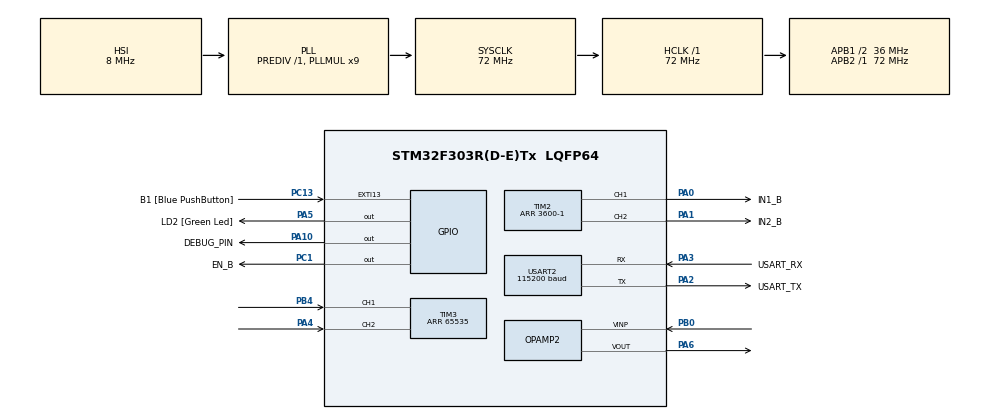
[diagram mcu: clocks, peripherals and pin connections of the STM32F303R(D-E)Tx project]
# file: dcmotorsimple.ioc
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ADC2.Channel-1\#ChannelRegularConversion=ADC_CHANNEL_3
ADC2.ClockPrescaler=ADC_CLOCK_SYNC_PCLK_DIV1
ADC2.ExternalTrigConv=ADC_EXTERNALTRIGCONV_T2_TRGO
ADC2.ExternalTrigConvEdge=ADC_EXTERNALTRIGCONVEDGE_RISINGFALLING
ADC2.NbrOfConversionFlag=1
ADC2.Offset-1\#ChannelRegularConversion=0
ADC2.OffsetNumber-1\#ChannelRegularConversion=ADC_OFFSET_NONE
ADC2.Rank-1\#ChannelRegularConversion=1
ADC2.SamplingTime-1\#ChannelRegularConversion=ADC_SAMPLETIME_1CYCLE_5
Mcu.Family=STM32F3
Mcu.Name=STM32F303R(D-E)Tx
Mcu.Package=LQFP64
NVIC.ADC1_2_IRQn=true\:0\:0\:false\:false\:true\:true\:true
NVIC.PriorityGroup=NVIC_PRIORITYGROUP_0
OPAMP2.PgaGain=OPAMP_PGA_GAIN_16
PA0.GPIO_Label=IN1_B
PA0.Signal=S_TIM2_CH1_ETR
PA1.GPIO_Label=IN2_B
PA1.Signal=S_TIM2_CH2
PA10.GPIO_Label=DEBUG_PIN
PA10.Signal=GPIO_Output
PA13.GPIO_Label=TMS
PA13.Mode=Serial_Wire
PA13.Signal=SYS_JTMS-SWDIO
PA14.GPIO_Label=TCK
PA14.Mode=Serial_Wire
PA14.Signal=SYS_JTCK-SWCLK
PA2.GPIO_Label=USART_TX
PA2.GPIO_Mode=GPIO_MODE_AF_PP
PA2.GPIO_PuPd=GPIO_NOPULL
PA2.GPIO_Speed=GPIO_SPEED_FREQ_LOW
PA2.Mode=Asynchronous
PA2.Signal=USART2_TX
PA3.GPIO_Label=USART_RX
PA3.GPIO_Mode=GPIO_MODE_AF_PP
PA3.GPIO_PuPd=GPIO_NOPULL
PA3.GPIO_Speed=GPIO_SPEED_FREQ_LOW
PA3.Mode=Asynchronous
PA3.Signal=USART2_RX
PA4.Signal=S_TIM3_CH2
PA5.GPIO_Label=LD2 [Green Led]
PA5.GPIO_PuPd=GPIO_NOPULL
PA5.GPIO_Speed=GPIO_SPEED_FREQ_LOW
PA5.Signal=GPIO_Output
PA6.Mode=PGA Not Connected
PA6.Signal=OPAMP2_VOUT
PB0.Mode=PGA Not Connected
PB0.Signal=OPAMP2_VINP
PB3.GPIO_Label=SWO
PB3.Signal=SYS_JTDO-TRACESWO
PB4.Signal=S_TIM3_CH1
PC1.GPIO_Label=EN_B
PC1.Signal=GPIO_Output
PC13.GPIO_Label=B1 [Blue PushButton]
PC13.GPIO_ModeDefaultEXTI=GPIO_MODE_IT_FALLING
PC13.Signal=GPXTI13
PC14-OSC32_IN.Mode=LSE-External-Oscillator
PC14-OSC32_IN.Signal=RCC_OSC32_IN
PC15-OSC32_OUT.Mode=LSE-External-Oscillator
PC15-OSC32_OUT.Signal=RCC_OSC32_OUT
PF0-OSC_IN.Signal=RCC_OSC_IN
PF1-OSC_OUT.Signal=RCC_OSC_OUT
ProjectManager.HeapSize=0x200
ProjectManager.StackSize=0x400
ProjectManager.TargetToolchain=STM32CubeIDE
RCC.AHBFreq_Value=72000000
RCC.APB1CLKDivider=RCC_HCLK_DIV2
RCC.APB1Freq_Value=36000000
RCC.APB1TimFreq_Value=72000000
RCC.APB2Freq_Value=72000000
RCC.APB2TimFreq_Value=72000000
RCC.CortexFreq_Value=72000000
RCC.HCLKFreq_Value=72000000
RCC.HSE_VALUE=8000000
RCC.HSI_VALUE=8000000
RCC.PLLM=8
RCC.PLLMUL=RCC_PLL_MUL9
RCC.PLLN=336
RCC.PLLP=RCC_PLLP_DIV4
RCC.PLLQ=7
RCC.RCC_PLLsource_Clock_Source_FROM_HSE=RCC_HSE_PREDIV_DIV2
RCC.SYSCLKFreq_VALUE=72000000
RCC.SYSCLKSourceVirtual=RCC_SYSCLKSOURCE_PLLCLK
RCC.USBFreq_Value=72000000
SH.S_TIM2_CH1_ETR.0=TIM2_CH1,PWM Generation1 CH1
SH.S_TIM2_CH2.0=TIM2_CH2,PWM Generation2 CH2
SH.S_TIM3_CH1.0=TIM3_CH1,Encoder_Interface
SH.S_TIM3_CH2.0=TIM3_CH2,Encoder_Interface
TIM2.Channel-Output\ Compare3\ No\ Output=TIM_CHANNEL_3
TIM2.Channel-PWM\ Generation1\ CH1=TIM_CHANNEL_1
TIM2.Channel-PWM\ Generation2\ CH2=TIM_CHANNEL_2
TIM2.CounterMode=TIM_COUNTERMODE_UP
TIM2.OC3Preload=ENABLE
TIM2.OCMode_3=TIM_OCMODE_TOGGLE
TIM2.OCMode_PWM-PWM\ Generation1\ CH1=TIM_OCMODE_PWM1
TIM2.OCPolarity_2=TIM_OCPOLARITY_LOW
TIM2.Period=3600-1
TIM2.TIM_MasterOutputTrigger=TIM_TRGO_OC3REF
TIM3.EncoderMode=TIM_ENCODERMODE_TI12
TIM3.Period=65535
USART2.BaudRate=115200
USART2.VirtualMode-Asynchronous=VM_ASYNC
VP_ADC2_OPAMP_OUT2.Mode=IN3-OPAMP2-Single-Ended
VP_TIM2_VS_no_output3.Mode=Output Compare3 No Output
board=NUCLEO-F303RE

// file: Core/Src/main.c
/* USER CODE BEGIN Header */
/**
  ******************************************************************************
  * @file           : main.c
  * @brief          : Main program body
  ******************************************************************************
  * @attention
  *
  * <h2><center>&copy; Copyright (c) 2020 STMicroelectronics.
  * All rights reserved.</center></h2>
  *
  * This software component is licensed by ST under BSD 3-Clause license,
  * the "License"; You may not use this file except in compliance with the
  * License. You may obtain a copy of the License at:
  *                        opensource.org/licenses/BSD-3-Clause
  *
  ******************************************************************************
  */
/* USER CODE END Header */

#include "main.h"
#include "adc.h"
#include "opamp.h"
#include "tim.h"
#include "usart.h"
#include "gpio.h"

/* USER CODE BEGIN Includes */

#include <stdbool.h>
#include "../../Com/com.h"
#include "../../pid/pid.h"

/* USER CODE END Includes */

void SystemClock_Config(void);

/* USER CODE BEGIN 0 */

//static volatile uint16_t val = 3599;
//static uint16_t buffer[1000];
//__IO uint16_t uhADCxConvertedValue = 0;
//void test_Test1(void){
//	TIM_HandleTypeDef    TimHandle;
//	TIM_OC_InitTypeDef sConfig;
//	static uint16_t diff;
//	static uint16_t old = 0;
//	static uint16_t new;
//	uint16_t diff_array[100];
//	uint32_t i;
//
//	/* Run the ADC calibration in single-ended mode */
//	  if (HAL_ADCEx_Calibration_Start(&hadc2, ADC_SINGLE_ENDED) != HAL_OK)
//	  {
//	    /* Calibration Error */
//	    Error_Handler();
//	  }
//	  /* Infinite loop */
//	    while (1)
//	    {
//
//	      /*##-3- Start the conversion process #######################################*/
//	      if (HAL_ADC_Start(&hadc2) != HAL_OK)
//	      {
//	        /* Start Conversation Error */
//	        Error_Handler();
//	      }
//
//	      /*##-4- Wait for the end of conversion #####################################*/
//	      /*  For simplicity reasons, this example is just waiting till the end of the
//	      conversion, but application may perform other tasks while conversion
//	      operation is ongoing. */
//	      if (HAL_ADC_PollForConversion(&hadc2, 10) != HAL_OK)
//	      {
//	        /* End Of Conversion flag not set on time */
//	        Error_Handler();
//	      }
//	      else
//	      {
//	        /* ADC conversion completed */
//	        /*##-5- Get the converted value of regular channel  ######################*/
//	        uhADCxConvertedValue = HAL_ADC_GetValue(&hadc2);
//	      }
//	    }
//
//
//	  com_Test_SendBuffer( (uint8_t *)buffer, 2000);
//
//	  HAL_TIM_PWM_Start(&htim16, TIM_CHANNEL_1);
//	  LL_GPIO_SetOutputPin(EN_A_GPIO_Port, EN_A_Pin);
//
//	  __HAL_TIM_SET_COMPARE(&htim16, TIM_CHANNEL_1, val);
//	  HAL_TIM_Encoder_Start(&htim1,TIM_CHANNEL_ALL);
//	  while (1)
//	  {
//	//	  __HAL_TIM_SET_COMPARE(&htim16, TIM_CHANNEL_1, 900-1);
//	//	  HAL_Delay(1000);
//	//	  __HAL_TIM_SET_COMPARE(&htim16, TIM_CHANNEL_1, 1800-1);
//	//	  HAL_Delay(1000);
//	//	  __HAL_TIM_SET_COMPARE(&htim16, TIM_CHANNEL_1, 2700-1);
//	//	  HAL_Delay(1000);
//	//	  __HAL_TIM_SET_COMPARE(&htim16, TIM_CHANNEL_1, val);
//	//	   HAL_Delay(1000);
//
//		  old = TIM1->CNT;
//		  for(i=0;i<100;i++){
//			  HAL_Delay(10);
//			  new = TIM1->CNT;
//			  diff_array[i] = new - old;
//			  old = new;
//		  }
//
//		  LL_GPIO_ResetOutputPin(EN_A_GPIO_Port, EN_A_Pin);
//		  __HAL_TIM_SET_COMPARE(&htim16, TIM_CHANNEL_1, 0);
//		  while(1);
//}

//void test_ContinuousSingleDirection(void){
//	LL_GPIO_SetOutputPin(IN1_B_GPIO_Port, IN1_B_Pin);
//	LL_GPIO_ResetOutputPin(IN2_B_GPIO_Port, IN2_B_Pin);
//	LL_GPIO_SetOutputPin(EN_B_GPIO_Port, EN_B_Pin);
//	while(1);
//}
//
//__IO uint16_t adcValue = 0;
//__IO float adcValue_mV = 0;
//__IO float adcValue_mA = 0;
//void test_ContinuousSingleDirectionADC(void){
//	LL_GPIO_SetOutputPin(IN1_B_GPIO_Port, IN1_B_Pin);
//	LL_GPIO_ResetOutputPin(IN2_B_GPIO_Port, IN2_B_Pin);
//	LL_GPIO_SetOutputPin(EN_B_GPIO_Port, EN_B_Pin);
//	HAL_ADCEx_Calibration_Start(&hadc2, ADC_SINGLE_ENDED);
//	while(1){
//		HAL_ADC_Start(&hadc2);
//		HAL_ADC_PollForConversion(&hadc2, 10);
//		adcValue = HAL_ADC_GetValue(&hadc2);
//		adcValue_mV = adcValue * 0.805664F;
//		adcValue_mA = (adcValue_mV-40) / (31*0.05F);
//	}
//}

//#define N (10000)
//void test_mANoise(void){
//	uint16_t adcValue = 0;
//	float adcValue_mV = 0;
//	float adcValue_mA[N];
//	unsigned int index = N;
//
//	LL_GPIO_SetOutputPin(IN1_B_GPIO_Port, IN1_B_Pin);
//	LL_GPIO_ResetOutputPin(IN2_B_GPIO_Port, IN2_B_Pin);
//	LL_GPIO_SetOutputPin(EN_B_GPIO_Port, EN_B_Pin);
//	HAL_Delay(1000);
//	HAL_ADCEx_Calibration_Start(&hadc2, ADC_SINGLE_ENDED);
//	while(index--){
//		HAL_Delay(1);
//		HAL_ADC_Start(&hadc2);
//		HAL_ADC_PollForConversion(&hadc2, 10);
//		adcValue = HAL_ADC_GetValue(&hadc2);
//		adcValue_mV = adcValue * 0.805664F;
//		adcValue_mA[index] = (adcValue_mV-40) / (31*0.05F);
//	}
//	com_Test_SendBuffer( (uint8_t *)&adcValue_mA[0] , 4*N);
//	while(1);
//}

//void test_PwmSimple(void){
//	LL_GPIO_ResetOutputPin(IN2_B_GPIO_Port, IN2_B_Pin);
//	LL_GPIO_SetOutputPin(EN_B_GPIO_Port, EN_B_Pin);
//	__HAL_TIM_SET_COMPARE(&htim2, TIM_CHANNEL_1, 0);
//	HAL_TIM_PWM_Start(&htim2, TIM_CHANNEL_1);
//	LL_GPIO_SetOutputPin(EN_B_GPIO_Port, EN_B_Pin);
//	while(1){
//		HAL_Delay(5000);
//		LL_GPIO_SetOutputPin(DEBUG_PIN_GPIO_Port, DEBUG_PIN_Pin);
//		__HAL_TIM_SET_COMPARE(&htim2, TIM_CHANNEL_1, 500);
//		HAL_Delay(500);
//		LL_GPIO_ResetOutputPin(DEBUG_PIN_GPIO_Port, DEBUG_PIN_Pin);
//		__HAL_TIM_SET_COMPARE(&htim2, TIM_CHANNEL_1, 0);
//		LL_GPIO_ResetOutputPin(IN1_B_PWM_GPIO_Port, IN1_B_PWM_Pin);
//	}
//	HAL_TIM_PWM_Stop(&htim2, TIM_CHANNEL_1);
//}

//__IO uint16_t adcValue = 0;
//#define N 1000
//float mA_Array[N];
//void test_PwmADCSimple(void){
//	uint16_t counter = 0;
//	HAL_ADCEx_Calibration_Start(&hadc2, ADC_SINGLE_ENDED);
//
//	LL_GPIO_ResetOutputPin(IN2_B_GPIO_Port, IN2_B_Pin);
//	LL_GPIO_SetOutputPin(EN_B_GPIO_Port, EN_B_Pin);
//	__HAL_TIM_SET_COMPARE(&htim2, TIM_CHANNEL_1, 2000);
//	HAL_TIM_PWM_Start(&htim2, TIM_CHANNEL_1);
//
//	while(counter < N){
//		HAL_ADC_Start(&hadc2);
//		HAL_ADC_PollForConversion(&hadc2, 10);
//		adcValue = HAL_ADC_GetValue(&hadc2);
//		adcValue = adcValue >> 2;
//		mA_Array[counter]=((adcValue * 3.22265625F)-43)/(31*0.05);
//		//mA_Array[counter]=((adcValue * 0.805664063F)-43)/(31*0.05);
//		counter++;
//	}
//	com_Test_SendBuffer( (uint8_t *)&mA_Array[0] , 4*N);
//	while(1);
//}

//static volatile float pid_setpoint = 0;
////__IO float pid_Kp = 6.9F;
////__IO float pid_KixTs = 0.7256F;
////__IO float pid_lastError = 0;
////__IO float pid_lastIntegral = 0;
////__IO float pid_volts2pwm = 7199/3.3F;
//void test_pid(){
//	HAL_ADCEx_Calibration_Start(&hadc2, ADC_SINGLE_ENDED);
//	HAL_ADC_Start_IT(&hadc2);
//	HAL_TIM_PWM_Start(&htim2, TIM_CHANNEL_1);
//	__HAL_TIM_SET_COMPARE(&htim2, TIM_CHANNEL_1, 4500);
//}
//void pid(uint16_t adc){
//}

//static volatile uint16_t duty = 300;
//void test_PWMBipolar(){
//	LL_GPIO_SetOutputPin(EN_B_GPIO_Port, EN_B_Pin);
//	LL_GPIO_ResetOutputPin(IN1_B_GPIO_Port, IN1_B_Pin);
//	LL_GPIO_ResetOutputPin(IN2_B_GPIO_Port, IN2_B_Pin);
//	HAL_Delay(500);
//	__HAL_TIM_SET_COMPARE(&htim2, TIM_CHANNEL_1, duty);
//	__HAL_TIM_SET_COMPARE(&htim2, TIM_CHANNEL_2, duty);
//	LL_GPIO_SetOutputPin(DEBUG_PIN_GPIO_Port,DEBUG_PIN_Pin);
//	HAL_TIM_PWM_Start(&htim2, TIM_CHANNEL_1);
//	HAL_TIM_PWM_Start(&htim2, TIM_CHANNEL_2);
//	HAL_Delay(1);
//	LL_GPIO_ResetOutputPin(DEBUG_PIN_GPIO_Port,DEBUG_PIN_Pin);
//	LL_GPIO_ResetOutputPin(EN_B_GPIO_Port, EN_B_Pin);
//	while(1){
//		__HAL_TIM_SET_COMPARE(&htim2, TIM_CHANNEL_1, duty);
//		__HAL_TIM_SET_COMPARE(&htim2, TIM_CHANNEL_2, duty);
//	}
//
//}

//void test_pulse(){
//	LL_GPIO_SetOutputPin(EN_B_GPIO_Port, EN_B_Pin);
//	LL_GPIO_ResetOutputPin(IN1_B_GPIO_Port, IN1_B_Pin);
//	LL_GPIO_ResetOutputPin(IN2_B_GPIO_Port, IN2_B_Pin);
//	while(1){
//		HAL_Delay(5000);
//		LL_GPIO_SetOutputPin(DEBUG_PIN_GPIO_Port,DEBUG_PIN_Pin);
//		LL_GPIO_SetOutputPin(IN1_B_GPIO_Port, IN1_B_Pin);
//		HAL_Delay(5);
//		LL_GPIO_ResetOutputPin(DEBUG_PIN_GPIO_Port,DEBUG_PIN_Pin);
//		LL_GPIO_ResetOutputPin(IN1_B_GPIO_Port, IN1_B_Pin);
//	}
//}

//void test_pulsePWM(){
//	LL_GPIO_SetOutputPin(EN_B_GPIO_Port, EN_B_Pin);
//	LL_GPIO_ResetOutputPin(IN1_B_GPIO_Port, IN1_B_Pin);
//	LL_GPIO_ResetOutputPin(IN2_B_GPIO_Port, IN2_B_Pin);
//	__HAL_TIM_SET_COMPARE(&htim2, TIM_CHANNEL_1, 0);
//	__HAL_TIM_SET_COMPARE(&htim2, TIM_CHANNEL_2, 0);
//	HAL_TIM_PWM_Start(&htim2, TIM_CHANNEL_1);
//	HAL_TIM_PWM_Start(&htim2, TIM_CHANNEL_2);
//	__HAL_TIM_SET_COMPARE(&htim2, TIM_CHANNEL_1, 1100);
//	__HAL_TIM_SET_COMPARE(&htim2, TIM_CHANNEL_2, 1100);
//	LL_GPIO_SetOutputPin(DEBUG_PIN_GPIO_Port,DEBUG_PIN_Pin);
////	HAL_Delay(500);
////	while(1){
////		HAL_Delay(5000);
////		__HAL_TIM_SET_COMPARE(&htim2, TIM_CHANNEL_1, 1550);
////		__HAL_TIM_SET_COMPARE(&htim2, TIM_CHANNEL_2, 1550);
////		LL_GPIO_SetOutputPin(DEBUG_PIN_GPIO_Port,DEBUG_PIN_Pin);
////		HAL_Delay(5);
////		__HAL_TIM_SET_COMPARE(&htim2, TIM_CHANNEL_1, 900);
////		__HAL_TIM_SET_COMPARE(&htim2, TIM_CHANNEL_2, 900);
////		LL_GPIO_ResetOutputPin(IN1_B_GPIO_Port, IN1_B_Pin);
////		LL_GPIO_ResetOutputPin(IN2_B_GPIO_Port, IN2_B_Pin);
////		LL_GPIO_ResetOutputPin(DEBUG_PIN_GPIO_Port,DEBUG_PIN_Pin);
////	}
//}

//static volatile uint16_t duty = 3500;
//static volatile uint16_t duty_adc;
//#define ADC_ARRAY_SIZE_N (8000)
//#define ADC_ARRAY_SIZE_BYTES (ADC_ARRAY_SIZE_N*2)
//static uint16_t adcArray[ADC_ARRAY_SIZE_N];
//static volatile uint16_t index = 0;
//static bool array_full = false;
//void test_isr(__IO uint16_t adcValue){
//	adcArray[index++] = adcValue;
//	if(index == ADC_ARRAY_SIZE_N){
//		array_full = true;
//	}
//}
//void test_SYNC_PWM_ADC(){
//	int i=0;
//	HAL_ADCEx_Calibration_Start(&hadc2, ADC_SINGLE_ENDED);
//	HAL_OPAMP_SelfCalibrate(&hopamp2);
//	HAL_OPAMP_Start(&hopamp2);
//	HAL_ADC_Start_IT(&hadc2);
//	LL_GPIO_SetOutputPin(EN_B_GPIO_Port, EN_B_Pin);
//	if(duty >= 1800){
//		duty_adc = duty/2;
//	}else {
//		duty_adc = ((3600 - duty)/2)+duty;
//	}
//	__HAL_TIM_SET_COMPARE(&htim2, TIM_CHANNEL_1, duty);
//	__HAL_TIM_SET_COMPARE(&htim2, TIM_CHANNEL_2, duty);
//	__HAL_TIM_SET_COMPARE(&htim2, TIM_CHANNEL_3, duty_adc);
//	HAL_TIM_PWM_Start(&htim2, TIM_CHANNEL_1);
//	HAL_TIM_PWM_Start(&htim2, TIM_CHANNEL_2);
//	HAL_TIM_OC_Start(&htim2, TIM_CHANNEL_3);
//	while(!array_full);
//	HAL_ADC_Stop_IT(&hadc2);
//	LL_GPIO_ResetOutputPin(EN_B_GPIO_Port, EN_B_Pin);
//	HAL_TIM_PWM_Stop(&htim2, TIM_CHANNEL_1);
//	HAL_TIM_PWM_Stop(&htim2, TIM_CHANNEL_2);
//	HAL_TIM_OC_Stop(&htim2, TIM_CHANNEL_3);
//	LL_GPIO_ResetOutputPin(IN1_B_GPIO_Port, IN1_B_Pin);
//	LL_GPIO_ResetOutputPin(IN2_B_GPIO_Port, IN2_B_Pin);
//	com_Test_SendBuffer( (uint8_t *)&adcArray[0] , ADC_ARRAY_SIZE_BYTES);
//}

//#define ADC_ARRAY_SIZE_N (8000)
//#define ADC_ARRAY_SIZE_BYTES (ADC_ARRAY_SIZE_N*2)
//static uint16_t adcArray[ADC_ARRAY_SIZE_N];
//static int16_t outputArray[ADC_ARRAY_SIZE_N];
//static volatile uint16_t index = 0;
//
//static volatile float pid_setpoint = 500.0F;	// aprox 200mA
//static volatile float pid_Kp = 1.2F; //0.8F;
//static volatile float pid_KixTs = 0.06105F; // 1221×0,00005 // 0.15375F;
//static volatile float pid_lastError = 0.0F;
//static volatile float pid_lastIntegral = 0.0F;
//static volatile int16_t output;
//void pid_isr(__IO uint16_t adcValue){
//	float error;
//	float proportional;
//	float integral;
//
//	if(pid_setpoint >= 0){
//		error = pid_setpoint - adcValue;
//	} else {
//		error = -pid_setpoint - adcValue;
//	}
//	proportional = error * pid_Kp;
//	integral = pid_KixTs * pid_lastError + pid_lastIntegral;
//	if(integral > 1799.0F){
//		integral = 1799.0F;
//	}else if (integral < 0.0F){
//		integral = 0.0F;
//	}
//	if(pid_setpoint >= 0){
//		output = 1800 + (int16_t)(proportional + integral);
//	}else {
//		output = 1800 - (int16_t)(proportional + integral);
//	}
//	if(output > 3599.0F){
//		output = 3599.0F;
//	}else if (output < 0.0F){
//		output = 0.0F;
//	}
//	pid_lastError = error;
//	pid_lastIntegral = integral;
//	__HAL_TIM_SET_COMPARE(&htim2, TIM_CHANNEL_1, output);
//	__HAL_TIM_SET_COMPARE(&htim2, TIM_CHANNEL_2, output);
//	if(output >= 1800){
//		__HAL_TIM_SET_COMPARE(&htim2, TIM_CHANNEL_3, output/2);
//	}else{
//		__HAL_TIM_SET_COMPARE(&htim2, TIM_CHANNEL_3, (3599 + output)/2);
//	}
//
//	adcArray[index] = adcValue;
//	outputArray[index] = output;
//	index++;
//	if(index == ADC_ARRAY_SIZE_N){
//		HAL_ADC_Stop_IT(&hadc2);
//		LL_GPIO_ResetOutputPin(EN_B_GPIO_Port, EN_B_Pin);
//		HAL_TIM_PWM_Stop(&htim2, TIM_CHANNEL_1);
//		HAL_TIM_PWM_Stop(&htim2, TIM_CHANNEL_2);
//		HAL_TIM_OC_Stop(&htim2, TIM_CHANNEL_3);
//		LL_GPIO_ResetOutputPin(IN1_B_GPIO_Port, IN1_B_Pin);
//		LL_GPIO_ResetOutputPin(IN2_B_GPIO_Port, IN2_B_Pin);
//		com_Test_SendBuffer( (uint8_t *)&adcArray[0] , ADC_ARRAY_SIZE_BYTES);
//		com_Test_SendBuffer( (uint8_t *)&outputArray[0] , ADC_ARRAY_SIZE_BYTES);
//	}
//}
//void test_pid(){
//	uint16_t duty = 1800;
//	uint16_t duty_adc = duty/2;;
//	HAL_ADCEx_Calibration_Start(&hadc2, ADC_SINGLE_ENDED);
//	HAL_OPAMP_SelfCalibrate(&hopamp2);
//	HAL_OPAMP_Start(&hopamp2);
//
//	LL_GPIO_SetOutputPin(EN_B_GPIO_Port, EN_B_Pin);
//
//	__HAL_TIM_SET_COMPARE(&htim2, TIM_CHANNEL_1, duty);
//	__HAL_TIM_SET_COMPARE(&htim2, TIM_CHANNEL_2, duty);
//	__HAL_TIM_SET_COMPARE(&htim2, TIM_CHANNEL_3, duty_adc);
//	HAL_TIM_PWM_Start(&htim2, TIM_CHANNEL_1);
//	HAL_TIM_PWM_Start(&htim2, TIM_CHANNEL_2);
//
//	HAL_Delay(1000);
//
//	HAL_ADC_Start_IT(&hadc2);
//	HAL_TIM_OC_Start(&htim2, TIM_CHANNEL_3);
//	while(true);
//}

//#define ENC_ARRAY_SIZE_N (8000)
//#define ENC_ARRAY_SIZE_BYTES (ENC_ARRAY_SIZE_N*2)
//static uint16_t encArray[ENC_ARRAY_SIZE_N];
//static volatile uint16_t index = 0;
//#define SPEED_LOOP_N (20)	// 20KHz / 20 -> 1KHz for speed control
//static volatile uint32_t speed_loop_counter = 0;
//
//static volatile float pid_setpoint = 120.0F;	// minimum 120 to start rotating
//static volatile float pid_Kp = 1.2F; //0.8F;
//static volatile float pid_KixTs = 0.06105F; // 1221×0,00005 // 0.15375F;
//static volatile float pid_lastError = 0.0F;
//static volatile float pid_lastIntegral = 0.0F;
//static volatile int16_t output;
//void pid_isr(__IO uint16_t adcValue){
//	float error;
//	float proportional;
//	float integral;
//	uint16_t encoder;
//
//	if(pid_setpoint >= 0){
//		error = pid_setpoint - adcValue;
//	} else {
//		error = -pid_setpoint - adcValue;
//	}
//	proportional = error * pid_Kp;
//	integral = pid_KixTs * pid_lastError + pid_lastIntegral;
//	if(integral > 1799.0F){
//		integral = 1799.0F;
//	}else if (integral < 0.0F){
//		integral = 0.0F;
//	}
//	if(pid_setpoint >= 0){
//		output = 1800 + (int16_t)(proportional + integral);
//	}else {
//		output = 1800 - (int16_t)(proportional + integral);
//	}
//	if(output > 3599.0F){
//		output = 3599.0F;
//	}else if (output < 0.0F){
//		output = 0.0F;
//	}
//	pid_lastError = error;
//	pid_lastIntegral = integral;
//	__HAL_TIM_SET_COMPARE(&htim2, TIM_CHANNEL_1, output);
//	__HAL_TIM_SET_COMPARE(&htim2, TIM_CHANNEL_2, output);
//	if(output >= 1800){
//		__HAL_TIM_SET_COMPARE(&htim2, TIM_CHANNEL_3, output/2);
//	}else{
//		__HAL_TIM_SET_COMPARE(&htim2, TIM_CHANNEL_3, (3599 + output)/2);
//	}
//
//	if(++speed_loop_counter == SPEED_LOOP_N){
//		speed_loop_counter = 0;
//		encoder = __HAL_TIM_GET_COUNTER(&htim3);
//		encArray[index] = encoder;
//		index++;
//		if(index == ENC_ARRAY_SIZE_N){
//			HAL_ADC_Stop_IT(&hadc2);
//			LL_GPIO_ResetOutputPin(EN_B_GPIO_Port, EN_B_Pin);
//			HAL_TIM_PWM_Stop(&htim2, TIM_CHANNEL_1);
//			HAL_TIM_PWM_Stop(&htim2, TIM_CHANNEL_2);
//			HAL_TIM_OC_Stop(&htim2, TIM_CHANNEL_3);
//			LL_GPIO_ResetOutputPin(IN1_B_GPIO_Port, IN1_B_Pin);
//			LL_GPIO_ResetOutputPin(IN2_B_GPIO_Port, IN2_B_Pin);
//			com_Test_SendBuffer( (uint8_t *)&encArray[0] , ENC_ARRAY_SIZE_BYTES);
//		}
//	}
//}
//void test_enc_meas(){
//	uint16_t duty = 1800;
//	uint16_t duty_adc = duty/2;;
//	HAL_ADCEx_Calibration_Start(&hadc2, ADC_SINGLE_ENDED);
//	HAL_OPAMP_SelfCalibrate(&hopamp2);
//	HAL_OPAMP_Start(&hopamp2);
//
//	LL_GPIO_SetOutputPin(EN_B_GPIO_Port, EN_B_Pin);
//
//	__HAL_TIM_SET_COMPARE(&htim2, TIM_CHANNEL_1, duty);
//	__HAL_TIM_SET_COMPARE(&htim2, TIM_CHANNEL_2, duty);
//	__HAL_TIM_SET_COMPARE(&htim2, TIM_CHANNEL_3, duty_adc);
//	HAL_TIM_PWM_Start(&htim2, TIM_CHANNEL_1);
//	HAL_TIM_PWM_Start(&htim2, TIM_CHANNEL_2);
//
//	HAL_Delay(1000);
//
//	HAL_ADC_Start_IT(&hadc2);
//	HAL_TIM_OC_Start(&htim2, TIM_CHANNEL_3);
//	HAL_TIM_Encoder_Start(&htim3, TIM_CHANNEL_ALL);
//
//	while(true);
//}

//#define ADC_ARRAY_SIZE_N (8000)
//#define ADC_ARRAY_SIZE_BYTES (ADC_ARRAY_SIZE_N*2)
//static int16_t adcArray[ADC_ARRAY_SIZE_N];
////static int16_t outputArray[ADC_ARRAY_SIZE_N];
//static int16_t pidOutputArray[ADC_ARRAY_SIZE_N];
//static volatile uint16_t index = 0;
//
//pid_Class pid_current;
//void pid_isr(__IO uint16_t adcValue){
//	int16_t pidOutput;
//	int16_t signedAdcValue;
//	int16_t output;
//	static int16_t last_output;
//
//	if(last_output >= 1800){	// check last output to determine the sign
//		signedAdcValue = adcValue;
//	}else {
//		signedAdcValue = -adcValue;
//	}
//
//	if(signedAdcValue > 10){
//		pid_Set_Limits(&pid_current, 1799.0F, 10);
//	} else if(signedAdcValue < -10){
//		pid_Set_Limits(&pid_current, -10, -1799.0F);
//	} else {
//		pid_Set_Limits(&pid_current, 1799.0F, -1799.0F);
//	}
//
//	pidOutput = (int16_t)pid_Calc_Output(&pid_current, signedAdcValue);
//
//
//	output = 1800 + pidOutput;
//
//	if(output > 3599.0F){
//		output = 3599.0F;
//	}else if (output < 0.0F){
//		output = 0.0F;
//	}
//
//	__HAL_TIM_SET_COMPARE(&htim2, TIM_CHANNEL_1, output);
//	__HAL_TIM_SET_COMPARE(&htim2, TIM_CHANNEL_2, output);
//	if(output >= 1800){
//		__HAL_TIM_SET_COMPARE(&htim2, TIM_CHANNEL_3, output/2);
//	}else{
//		__HAL_TIM_SET_COMPARE(&htim2, TIM_CHANNEL_3, (3599 + output)/2);
//	}
//	last_output = output;
//
//	adcArray[index] = signedAdcValue;
////	outputArray[index] = output;
//	pidOutputArray[index] = pidOutput;
//	index++;
//	if(index > ADC_ARRAY_SIZE_N/2){
//		pid_Set_Setpoint(&pid_current, -50.0F);
//	}
//	if(index == ADC_ARRAY_SIZE_N){
//		HAL_ADC_Stop_IT(&hadc2);
//		LL_GPIO_ResetOutputPin(EN_B_GPIO_Port, EN_B_Pin);
//		HAL_TIM_PWM_Stop(&htim2, TIM_CHANNEL_1);
//		HAL_TIM_PWM_Stop(&htim2, TIM_CHANNEL_2);
//		HAL_TIM_OC_Stop(&htim2, TIM_CHANNEL_3);
//		LL_GPIO_ResetOutputPin(IN1_B_GPIO_Port, IN1_B_Pin);
//		LL_GPIO_ResetOutputPin(IN2_B_GPIO_Port, IN2_B_Pin);
//		com_Test_SendBuffer( (uint8_t *)&adcArray[0] , ADC_ARRAY_SIZE_BYTES);
////		com_Test_SendBuffer( (uint8_t *)&outputArray[0] , ADC_ARRAY_SIZE_BYTES);
//		com_Test_SendBuffer( (uint8_t *)&pidOutputArray[0] , ADC_ARRAY_SIZE_BYTES);
//	}
//}
//void test_pid_class(){
//	uint16_t duty = 1800;
//	uint16_t duty_adc = duty/2;;
//
//	pid_Ctor(&pid_current, 1.2F, 1221.0F, 0.0F, 0.00005F, 1799.0F, -1799.0F);
//	pid_Set_Setpoint(&pid_current, 50.0F);
//
//	HAL_ADCEx_Calibration_Start(&hadc2, ADC_SINGLE_ENDED);
//	HAL_OPAMP_SelfCalibrate(&hopamp2);
//	HAL_OPAMP_Start(&hopamp2);
//
//	LL_GPIO_SetOutputPin(EN_B_GPIO_Port, EN_B_Pin);
//
//	__HAL_TIM_SET_COMPARE(&htim2, TIM_CHANNEL_1, duty);
//	__HAL_TIM_SET_COMPARE(&htim2, TIM_CHANNEL_2, duty);
//	__HAL_TIM_SET_COMPARE(&htim2, TIM_CHANNEL_3, duty_adc);
//	HAL_TIM_PWM_Start(&htim2, TIM_CHANNEL_1);
//	HAL_TIM_PWM_Start(&htim2, TIM_CHANNEL_2);
//
//	HAL_Delay(1000);
//
//	HAL_ADC_Start_IT(&hadc2);
//	HAL_TIM_OC_Start(&htim2, TIM_CHANNEL_3);
//	while(true);
//}

//#define ENC_ARRAY_SIZE_N (8000)
//#define ENC_ARRAY_SIZE_BYTES (ENC_ARRAY_SIZE_N*2)
//static uint16_t encArray[ENC_ARRAY_SIZE_N];
//static float currentSetpointArray[ENC_ARRAY_SIZE_N];
//static volatile uint16_t index = 0;
//#define SPEED_LOOP_N (40)	// 20KHz / 40 -> 500Hz for speed control
//static volatile uint32_t speed_loop_counter = SPEED_LOOP_N;
//
////static bool reached_speed_5 = false;
//
//pid_Class pid_current;
//pid_Class pid_speed;
//void pid_isr(__IO uint16_t adcValue){
//	uint16_t encoder;
//	static uint16_t last_encoder = 0;
//	int16_t encoder_speed;
//	int16_t output;
//	float current_setpoint;
//
//	int16_t pidOutput;
//	int16_t signedAdcValue;
//	static int16_t last_output;
//
//	// speed loop
//	if(++speed_loop_counter >= SPEED_LOOP_N){
//		speed_loop_counter = 0;
//		encoder = __HAL_TIM_GET_COUNTER(&htim3);
//		encArray[index] = encoder;
//
//
////		if(index > ENC_ARRAY_SIZE_N/2){
////		if(index >= 1){
////			//pid_Set_Setpoint(&pid_speed, 0.5F);
////			pid_Set_Gains(&pid_speed, 24.0F, 16.0F, 0.0F);
////		}
//		if(index == ENC_ARRAY_SIZE_N){
//			HAL_ADC_Stop_IT(&hadc2);
//			LL_GPIO_ResetOutputPin(EN_B_GPIO_Port, EN_B_Pin);
//			HAL_TIM_PWM_Stop(&htim2, TIM_CHANNEL_1);
//			HAL_TIM_PWM_Stop(&htim2, TIM_CHANNEL_2);
//			HAL_TIM_OC_Stop(&htim2, TIM_CHANNEL_3);
//			LL_GPIO_ResetOutputPin(IN1_B_GPIO_Port, IN1_B_Pin);
//			LL_GPIO_ResetOutputPin(IN2_B_GPIO_Port, IN2_B_Pin);
//			com_Test_SendBuffer( (uint8_t *)&encArray[0] , ENC_ARRAY_SIZE_BYTES);
//			com_Test_SendBuffer( (uint8_t *)&currentSetpointArray[0] , ENC_ARRAY_SIZE_BYTES*2);
//			while(1);
//		}
//
//		encoder_speed = encoder - last_encoder;
//		last_encoder = encoder;
//		current_setpoint = pid_Calc_Output(&pid_speed, encoder_speed);
//		pid_Set_Setpoint(&pid_current, current_setpoint);
//
//		currentSetpointArray[index] = current_setpoint;
//
//		index++;
//	}
//
//	// current loop
//	if(last_output >= 1800){	// check last output to determine the sign
//		signedAdcValue = adcValue;
//	}else {
//		signedAdcValue = -adcValue;
//	}
//
//	if(signedAdcValue > 10){
//		pid_Set_Limits(&pid_current, 1799.0F, 10.0F);
//	} else if(signedAdcValue < -10){
//		pid_Set_Limits(&pid_current, -10.0F, -1799.0F);
//	} else {
//		pid_Set_Limits(&pid_current, 1799.0F, -1799.0F);
//	}
//
//	pidOutput = (int16_t)pid_Calc_Output(&pid_current, signedAdcValue);
//
//
//	output = 1800 + pidOutput;
//
//	if(output > 3599.0F){
//		output = 3599.0F;
//	}else if (output < 0.0F){
//		output = 0.0F;
//	}
//
//	__HAL_TIM_SET_COMPARE(&htim2, TIM_CHANNEL_1, output);
//	__HAL_TIM_SET_COMPARE(&htim2, TIM_CHANNEL_2, output);
//	if(output >= 1800){
//		__HAL_TIM_SET_COMPARE(&htim2, TIM_CHANNEL_3, output/2);
//	}else{
//		__HAL_TIM_SET_COMPARE(&htim2, TIM_CHANNEL_3, (3599 + output)/2);
//	}
//	last_output = output;
//
//	__HAL_TIM_SET_COMPARE(&htim2, TIM_CHANNEL_1, output);
//	__HAL_TIM_SET_COMPARE(&htim2, TIM_CHANNEL_2, output);
//	if(output >= 1800){
//		__HAL_TIM_SET_COMPARE(&htim2, TIM_CHANNEL_3, output/2);
//	}else{
//		__HAL_TIM_SET_COMPARE(&htim2, TIM_CHANNEL_3, (3599 + output)/2);
//	}
//
//
//}
//void test_pid_curr_speed(){
//	uint16_t duty = 1800;
//	uint16_t duty_adc = duty/2;;
//
//	pid_Ctor(&pid_current, 1.2F, 1221.0F, 0.0F, 0.00005F, 1799.0F, -1799.0F);
//	pid_Set_Setpoint(&pid_current, 0.0F);
//
//	pid_Ctor(&pid_speed, 240.0F, 16.0F, 0.0F, 0.002F, 2000.0F, -2000.0F);
//	pid_Set_Setpoint(&pid_speed, 20.0F);
//
//	HAL_ADCEx_Calibration_Start(&hadc2, ADC_SINGLE_ENDED);
//	HAL_OPAMP_SelfCalibrate(&hopamp2);
//	HAL_OPAMP_Start(&hopamp2);
//
//	LL_GPIO_SetOutputPin(EN_B_GPIO_Port, EN_B_Pin);
//
//	__HAL_TIM_SET_COMPARE(&htim2, TIM_CHANNEL_1, duty);
//	__HAL_TIM_SET_COMPARE(&htim2, TIM_CHANNEL_2, duty);
//	__HAL_TIM_SET_COMPARE(&htim2, TIM_CHANNEL_3, duty_adc);
//	HAL_TIM_PWM_Start(&htim2, TIM_CHANNEL_1);
//	HAL_TIM_PWM_Start(&htim2, TIM_CHANNEL_2);
//
//	HAL_Delay(1000);
//
//	HAL_ADC_Start_IT(&hadc2);
//	HAL_TIM_OC_Start(&htim2, TIM_CHANNEL_3);
//	HAL_TIM_Encoder_Start(&htim3, TIM_CHANNEL_ALL);
//
//	while(true);
//}

#define ENC_ARRAY_SIZE_N (8000)
#define ENC_ARRAY_SIZE_BYTES (ENC_ARRAY_SIZE_N*2)
static uint16_t encArray[ENC_ARRAY_SIZE_N];
//static float currentSetpointArray[ENC_ARRAY_SIZE_N];
static float speedSetpointArray[ENC_ARRAY_SIZE_N];
static volatile uint16_t index = 0;
#define SPEED_LOOP_N (40)	// 20KHz / 40 -> 500Hz for speed control
static volatile uint32_t speed_loop_counter = SPEED_LOOP_N;
#define POS_LOOP_N (10)	// 500Hz / 10 -> 50Hz for position control
static volatile uint32_t pos_loop_counter = POS_LOOP_N;

pid_Class pid_current;
pid_Class pid_speed;
pid_Class pid_pos;
void pid_isr(__IO uint16_t adcValue){
	uint16_t encoder;
	static uint16_t last_encoder = 0;
	int16_t encoder_speed;
	int16_t output;
	float current_setpoint;
	float speed_setpoint;

	int16_t pidOutput;
	int16_t signedAdcValue;
	static int16_t last_output;

	// speed loop
	if(++speed_loop_counter >= SPEED_LOOP_N){
		speed_loop_counter = 0;
		encoder = __HAL_TIM_GET_COUNTER(&htim3);

		// pos control
		if(++pos_loop_counter >= POS_LOOP_N){
			pos_loop_counter = 0;
			speed_setpoint = pid_Calc_Output(&pid_pos, encoder);
			pid_Set_Setpoint(&pid_speed, speed_setpoint);
		}

//		if(index > ENC_ARRAY_SIZE_N/2){
//			pid_Set_Setpoint(&pid_speed, 5.0F);
//		}
		if(index == ENC_ARRAY_SIZE_N){
			HAL_ADC_Stop_IT(&hadc2);
			LL_GPIO_ResetOutputPin(EN_B_GPIO_Port, EN_B_Pin);
			HAL_TIM_PWM_Stop(&htim2, TIM_CHANNEL_1);
			HAL_TIM_PWM_Stop(&htim2, TIM_CHANNEL_2);
			HAL_TIM_OC_Stop(&htim2, TIM_CHANNEL_3);
			LL_GPIO_ResetOutputPin(IN1_B_GPIO_Port, IN1_B_Pin);
			LL_GPIO_ResetOutputPin(IN2_B_GPIO_Port, IN2_B_Pin);
			com_Test_SendBuffer( (uint8_t *)&encArray[0] , ENC_ARRAY_SIZE_BYTES);
//			com_Test_SendBuffer( (uint8_t *)&currentSetpointArray[0] , ENC_ARRAY_SIZE_BYTES*2);
			com_Test_SendBuffer( (uint8_t *)&speedSetpointArray[0] , ENC_ARRAY_SIZE_BYTES*2);
			while(1);
		}

		encoder_speed = encoder - last_encoder;
		last_encoder = encoder;
		current_setpoint = pid_Calc_Output(&pid_speed, encoder_speed);
		pid_Set_Setpoint(&pid_current, current_setpoint);

		//currentSetpointArray[index] = current_setpoint;
		speedSetpointArray [index] = pid_Get_Setpoint(&pid_speed);
		encArray[index] = encoder;
		index++;
	}

	// current loop
	if(last_output >= 1800){	// check last output to determine the sign
		signedAdcValue = adcValue;
	}else {
		signedAdcValue = -adcValue;
	}

	if(signedAdcValue > 10){
		pid_Set_Limits(&pid_current, 1799.0F, 10.0F);
	} else if(signedAdcValue < -10){
		pid_Set_Limits(&pid_current, -10.0F, -1799.0F);
	} else {
		pid_Set_Limits(&pid_current, 1799.0F, -1799.0F);
	}

	pidOutput = (int16_t)pid_Calc_Output(&pid_current, signedAdcValue);

	output = 1800 + pidOutput;

	if(output > 3599.0F){
		output = 3599.0F;
	}else if (output < 0.0F){
		output = 0.0F;
	}

	__HAL_TIM_SET_COMPARE(&htim2, TIM_CHANNEL_1, output);
	__HAL_TIM_SET_COMPARE(&htim2, TIM_CHANNEL_2, output);
	if(output >= 1800){
		__HAL_TIM_SET_COMPARE(&htim2, TIM_CHANNEL_3, output/2);
	}else{
		__HAL_TIM_SET_COMPARE(&htim2, TIM_CHANNEL_3, (3599 + output)/2);
	}
	last_output = output;

	__HAL_TIM_SET_COMPARE(&htim2, TIM_CHANNEL_1, output);
	__HAL_TIM_SET_COMPARE(&htim2, TIM_CHANNEL_2, output);
	if(output >= 1800){
		__HAL_TIM_SET_COMPARE(&htim2, TIM_CHANNEL_3, output/2);
	}else{
		__HAL_TIM_SET_COMPARE(&htim2, TIM_CHANNEL_3, (3599 + output)/2);
	}

}
void test_pid_curr_speed_pos(){
	uint16_t duty = 1800;
	uint16_t duty_adc = duty/2;;

	pid_Ctor(&pid_current, 1.2F, 1221.0F, 0.0F, 0.00005F, 1799.0F, -1799.0F);
	pid_Set_Setpoint(&pid_current, 0.0F);

	pid_Ctor(&pid_speed, 240.0F, 16.0F, 0.0F, 0.002F, 2000.0F, -2000.0F);
	pid_Set_Setpoint(&pid_speed, 0.0F);

	pid_Ctor(&pid_pos, 0.05F, 0.0F, 0.0F, 0.02F, 24.0F, -24.0F);
	pid_Set_Setpoint(&pid_pos, 2160.0F);

	HAL_ADCEx_Calibration_Start(&hadc2, ADC_SINGLE_ENDED);
	HAL_OPAMP_SelfCalibrate(&hopamp2);
	HAL_OPAMP_Start(&hopamp2);

	LL_GPIO_SetOutputPin(EN_B_GPIO_Port, EN_B_Pin);

	__HAL_TIM_SET_COMPARE(&htim2, TIM_CHANNEL_1, duty);
	__HAL_TIM_SET_COMPARE(&htim2, TIM_CHANNEL_2, duty);
	__HAL_TIM_SET_COMPARE(&htim2, TIM_CHANNEL_3, duty_adc);
	HAL_TIM_PWM_Start(&htim2, TIM_CHANNEL_1);
	HAL_TIM_PWM_Start(&htim2, TIM_CHANNEL_2);

	HAL_Delay(1000);

	HAL_ADC_Start_IT(&hadc2);
	HAL_TIM_OC_Start(&htim2, TIM_CHANNEL_3);
	HAL_TIM_Encoder_Start(&htim3, TIM_CHANNEL_ALL);

	while(true);
}

/* USER CODE END 0 */

int main(void)
{

  /* MCU Configuration--------------------------------------------------------*/

  /* Reset of all peripherals, Initializes the Flash interface and the Systick. */
  HAL_Init();

  /* Configure the system clock */
  SystemClock_Config();

  /* Initialize all configured peripherals */
  MX_GPIO_Init();
  MX_USART2_UART_Init();
  MX_ADC2_Init();
  MX_TIM2_Init();
  MX_OPAMP2_Init();
  MX_TIM3_Init();
  /* USER CODE BEGIN 2 */

  //test_ContinuousSingleDirection();
  //test_ContinuousSingleDirectionADC();
  //test_mANoise();
  //test_PwmSimple();
  //test_PwmADCSimple();
//  test_pid();
//  test_PWMBipolar();
//  test_pulse();
//  test_pulsePWM();
//  test_SYNC_PWM_ADC();
//  test_pid();
  //test_enc_meas();
  //test_pid_class();
//  test_pid_curr_speed();
  test_pid_curr_speed_pos();

  /* USER CODE END 2 */

  /* Infinite loop */
while(1){

  }
}

void SystemClock_Config(void)
{
  RCC_OscInitTypeDef RCC_OscInitStruct = {0};
  RCC_ClkInitTypeDef RCC_ClkInitStruct = {0};
  RCC_PeriphCLKInitTypeDef PeriphClkInit = {0};

  /** Initializes the CPU, AHB and APB busses clocks
  */
  RCC_OscInitStruct.OscillatorType = RCC_OSCILLATORTYPE_HSI;
  RCC_OscInitStruct.HSIState = RCC_HSI_ON;
  RCC_OscInitStruct.HSICalibrationValue = RCC_HSICALIBRATION_DEFAULT;
  RCC_OscInitStruct.PLL.PLLState = RCC_PLL_ON;
  RCC_OscInitStruct.PLL.PLLSource = RCC_PLLSOURCE_HSI;
  RCC_OscInitStruct.PLL.PLLMUL = RCC_PLL_MUL9;
  RCC_OscInitStruct.PLL.PREDIV = RCC_PREDIV_DIV1;
  if (HAL_RCC_OscConfig(&RCC_OscInitStruct) != HAL_OK)
  {
    Error_Handler();
  }
  /** Initializes the CPU, AHB and APB busses clocks
  */
  RCC_ClkInitStruct.ClockType = RCC_CLOCKTYPE_HCLK|RCC_CLOCKTYPE_SYSCLK
                              |RCC_CLOCKTYPE_PCLK1|RCC_CLOCKTYPE_PCLK2;
  RCC_ClkInitStruct.SYSCLKSource = RCC_SYSCLKSOURCE_PLLCLK;
  RCC_ClkInitStruct.AHBCLKDivider = RCC_SYSCLK_DIV1;
  RCC_ClkInitStruct.APB1CLKDivider = RCC_HCLK_DIV2;
  RCC_ClkInitStruct.APB2CLKDivider = RCC_HCLK_DIV1;

  if (HAL_RCC_ClockConfig(&RCC_ClkInitStruct, FLASH_LATENCY_2) != HAL_OK)
  {
    Error_Handler();
  }
  PeriphClkInit.PeriphClockSelection = RCC_PERIPHCLK_USART2|RCC_PERIPHCLK_TIM2
                              |RCC_PERIPHCLK_TIM34;
  PeriphClkInit.Usart2ClockSelection = RCC_USART2CLKSOURCE_PCLK1;
  PeriphClkInit.Tim2ClockSelection = RCC_TIM2CLK_HCLK;
  PeriphClkInit.Tim34ClockSelection = RCC_TIM34CLK_HCLK;
  if (HAL_RCCEx_PeriphCLKConfig(&PeriphClkInit) != HAL_OK)
  {
    Error_Handler();
  }
}

void Error_Handler(void)
{
}

/************************ (C) COPYRIGHT STMicroelectronics *****END OF FILE****/
